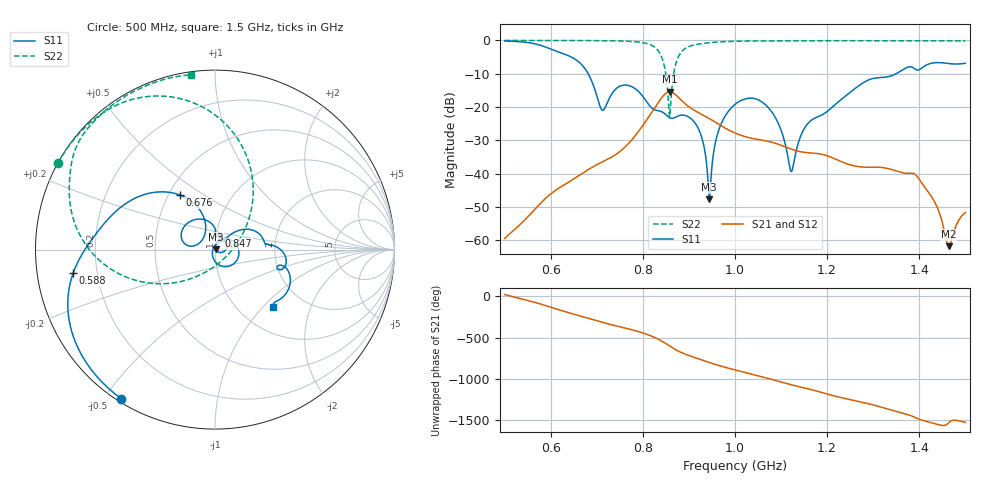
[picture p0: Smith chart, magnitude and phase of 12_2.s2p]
! TOUCHSTONE file generated by CST MICROWAVE STUDIO
! Date and time: Wed Oct 28 19:35:46 2020
! Project name: Scenario_1_Circular_Tissue_out_of_Line_v2.cst
! Parameters = {dy1=-155.7; L_HA=400; MT=2.54; Rad_Dielectric=30; Rad_Lower=7.3; Rad_Upper=30; a_HA=580; a_WG=246; b_HA=500; b_WG=121; c_HA=0; c_WG=187; d_feed=85; dx1=346; h_feed=15; h_lower=18; h_upper=40}
! Header version: 2018
! Port assignment regex: !\s*Touchstone port\s*([0-9]+)\s*=\s*(CST MWS port|CST DS port)\s*([0-9]+|Zmin|Zmax)\s*\(\"(.*)\"\)(\s*mode\s*([0-9]+))?.*
! Touchstone port assignment:
! Touchstone port 1 = CST MWS port 1 ("")
! Touchstone port 2 = CST MWS port 2 ("")
# GHz S DB R 50
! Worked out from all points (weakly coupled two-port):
!   1003 points, 500 MHz to 1.5 GHz, reference 50 ohm
!   highest |S21| = -15.42 dB at 858 MHz (marker M1); lowest = -61.7 dB at 1.464 GHz (marker M2)
!   lowest |S11| = -47.6 dB at 944 MHz (marker M3), VSWR 1.01, Z = 50.4 + j0.0699 ohm
!   |S11| at or under -10 dB: 681.4 MHz to 1.349 GHz (668 MHz wide, 65.8 % of centre)
!   |S22| runs from -23.0 to 0.0 dB; largest |S21 - S12| = 2.9e-05
!   S11 on the Smith chart (normalised r, x): 500 MHz: 0.01, -0.55; 588 MHz: 0.11, -0.08; 676 MHz: 0.57, +0.40; 847 MHz: 1.03, +0.16; 1.5 GHz: 1.42, -1.14
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0.5  -0.16 -122.3  -59.39 21.8  -59.39 21.8  -0.01 151.1
0.588  -1.94 -170.7  -47.48 -110.3  -47.48 -110.3  -0.02 145.0
0.667  -7.23 132.3  -40.03 117.0  -40.03 117.0  -0.04 138.4
0.676  -8.79 123.0  -39.23 102.3  -39.23 102.3  -0.05 137.5
0.712  -20.95 140.8  -36.46 44.1  -36.46 44.1  -0.08 133.4
0.763  -13.39 141.4  -31.75 -26.5  -31.75 -26.5  -0.22 124.8
0.834  -21.07 84.4  -18.50 -161.3  -18.50 -161.3  -3.20 84.2
0.847  -21.92 73.2  -16.23 157.8  -16.23 157.8  -7.92 58.0
0.858  -23.20 67.6  -15.42 117.9  -15.42 117.9  -22.96 -41.9
0.877  -22.62 57.0  -17.04 55.4  -17.04 55.4  -4.92 -167.3
0.916  -25.32 -8.2  -21.29 -29.0  -21.29 -29.0  -1.21 159.0
0.931  -30.75 -32.9  -22.40 -57.8  -22.40 -57.8  -0.90 153.9
0.944  -47.64 9.6  -23.41 -82.3  -23.41 -82.3  -0.70 150.6
0.965  -26.79 74.3  -25.21 -119.2  -25.21 -119.2  -0.46 146.2
1  -19.18 26.8  -27.76 -172.5  -27.76 -172.5  -0.25 140.4
1.073  -20.26 -69.5  -30.29 80.7  -30.28 80.7  -0.15 132.1
1.122  -39.32 162.4  -32.61 7.2  -32.61 7.2  -0.11 127.9
1.167  -23.81 46.6  -33.78 -53.3  -33.78 -53.3  -0.10 124.2
1.334  -10.83 5.8  -38.49 69.0  -38.49 69.0  -0.08 111.5
1.396  -8.89 -15.8  -40.91 -42.2  -40.91 -42.2  -0.09 106.7
1.464  -6.93 -39.2  -61.71 -92.2  -61.71 -92.2  -0.12 101.0
1.5  -6.86 -44.6  -51.62 -89.3  -51.66 -88.7  -0.14 97.9
